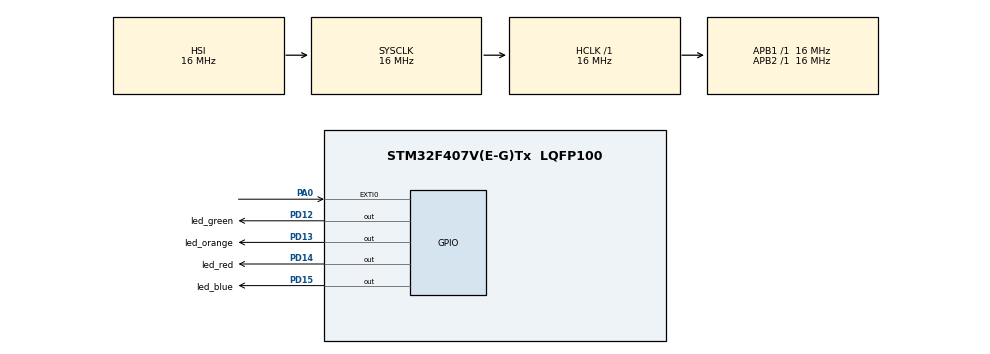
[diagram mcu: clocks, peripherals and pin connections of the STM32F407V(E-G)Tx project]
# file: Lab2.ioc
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Mcu.Family=STM32F4
Mcu.Name=STM32F407V(E-G)Tx
Mcu.Package=LQFP100
NVIC.EXTI0_IRQn=true\:0\:0\:false\:false\:true\:true\:true\:true
NVIC.PriorityGroup=NVIC_PRIORITYGROUP_4
PA0-WKUP.Signal=GPXTI0
PD12.GPIO_Label=led_green
PD12.Signal=GPIO_Output
PD13.GPIO_Label=led_orange
PD13.Signal=GPIO_Output
PD14.GPIO_Label=led_red
PD14.Signal=GPIO_Output
PD15.GPIO_Label=led_blue
PD15.Signal=GPIO_Output
ProjectManager.HeapSize=0x200
ProjectManager.StackSize=0x400
ProjectManager.TargetToolchain=STM32CubeIDE
RCC.AHBFreq_Value=16000000
RCC.APB1Freq_Value=16000000
RCC.APB2Freq_Value=16000000
RCC.CortexFreq_Value=16000000
RCC.HSE_VALUE=25000000
RCC.HSI_VALUE=16000000
RCC.LSE_VALUE=32768
RCC.SYSCLKFreq_VALUE=16000000
RCC.VCOOutputFreq_Value=192000000
board=custom

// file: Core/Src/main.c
/* USER CODE BEGIN Header */
/**
  ******************************************************************************
  * @file           : main.c
  * @brief          : Main program body
  ******************************************************************************
  * @attention
  *
  * Copyright (c) 2024 STMicroelectronics.
  * All rights reserved.
  *
  * This software is licensed under terms that can be found in the LICENSE file
  * in the root directory of this software component.
  * If no LICENSE file comes with this software, it is provided AS-IS.
  *
  ******************************************************************************
  */
/* USER CODE END Header */
#include "main.h"

/* USER CODE BEGIN PD */

#define LED_SWITCH_DELAY    (1000)

/* USER CODE END PD */

/* USER CODE BEGIN PV */

unsigned int ledMode =0;
unsigned long lastModeSwitchTime = 0;
#define MODE_SWITCH_INTERVAL 10000
/* USER CODE END PV */

void SystemClock_Config(void);
static void MX_GPIO_Init(void);

int main(void)
{

  /* MCU Configuration--------------------------------------------------------*/

  /* Reset of all peripherals, Initializes the Flash interface and the Systick. */
  HAL_Init();

  /* Configure the system clock */
  SystemClock_Config();

  /* Initialize all configured peripherals */
  MX_GPIO_Init();

  /* Infinite loop */
  /* USER CODE BEGIN WHILE */
  while (1)
     {
         if (HAL_GetTick() - lastModeSwitchTime >= MODE_SWITCH_INTERVAL) {
             ledMode++;
             if (ledMode > 3) {
                 ledMode = 0;
             }
             lastModeSwitchTime = HAL_GetTick();
         }

         // Выполнение текущего режима
         if (ledMode == 0) {
             HAL_GPIO_WritePin(GPIOD, led_blue_Pin, GPIO_PIN_SET);
             HAL_Delay(150);
             HAL_GPIO_WritePin(GPIOD, led_blue_Pin, GPIO_PIN_RESET);
             HAL_Delay(150);

             HAL_GPIO_WritePin(GPIOD, led_orange_Pin, GPIO_PIN_SET);
             HAL_Delay(150);
             HAL_GPIO_WritePin(GPIOD, led_orange_Pin, GPIO_PIN_RESET);
             HAL_Delay(150);

             HAL_GPIO_WritePin(GPIOD, led_green_Pin, GPIO_PIN_SET);
             HAL_Delay(150);
             HAL_GPIO_WritePin(GPIOD, led_green_Pin, GPIO_PIN_RESET);
             HAL_Delay(150);

             HAL_GPIO_WritePin(GPIOD, led_red_Pin, GPIO_PIN_SET);
             HAL_Delay(150);
             HAL_GPIO_WritePin(GPIOD, led_red_Pin, GPIO_PIN_RESET);
             HAL_Delay(150);
         }

         if (ledMode == 1) {
             HAL_GPIO_WritePin(GPIOD, led_red_Pin, GPIO_PIN_SET);
             HAL_Delay(300);
             HAL_GPIO_WritePin(GPIOD, led_red_Pin, GPIO_PIN_RESET);
             HAL_Delay(300);

             HAL_GPIO_WritePin(GPIOD, led_blue_Pin, GPIO_PIN_SET);
             HAL_Delay(200);
             HAL_GPIO_WritePin(GPIOD, led_blue_Pin, GPIO_PIN_RESET);
             HAL_Delay(200);

             HAL_GPIO_WritePin(GPIOD, led_orange_Pin, GPIO_PIN_SET);
             HAL_Delay(100);
             HAL_GPIO_WritePin(GPIOD, led_orange_Pin, GPIO_PIN_RESET);
             HAL_Delay(100);

             HAL_GPIO_WritePin(GPIOD, led_green_Pin, GPIO_PIN_SET);
             HAL_Delay(400);
             HAL_GPIO_WritePin(GPIOD, led_green_Pin, GPIO_PIN_RESET);
             HAL_Delay(400);
         }

         if (ledMode == 2) {
             HAL_GPIO_WritePin(GPIOD, led_red_Pin, GPIO_PIN_SET);
             HAL_GPIO_WritePin(GPIOD, led_orange_Pin, GPIO_PIN_SET);
             HAL_Delay(250);

             HAL_GPIO_WritePin(GPIOD, led_red_Pin, GPIO_PIN_RESET);
             HAL_GPIO_WritePin(GPIOD, led_orange_Pin, GPIO_PIN_RESET);
             HAL_Delay(250);

             HAL_GPIO_WritePin(GPIOD, led_green_Pin, GPIO_PIN_SET);
             HAL_GPIO_WritePin(GPIOD, led_blue_Pin, GPIO_PIN_SET);
             HAL_Delay(250);

             HAL_GPIO_WritePin(GPIOD, led_green_Pin, GPIO_PIN_RESET);
             HAL_GPIO_WritePin(GPIOD, led_blue_Pin, GPIO_PIN_RESET);
             HAL_Delay(250);
         }

         if (ledMode == 3) {
             HAL_GPIO_WritePin(GPIOD, led_green_Pin, GPIO_PIN_SET);
             HAL_Delay(100);

             HAL_GPIO_WritePin(GPIOD, led_orange_Pin, GPIO_PIN_SET);
             HAL_Delay(100);

             HAL_GPIO_WritePin(GPIOD, led_red_Pin, GPIO_PIN_SET);
             HAL_Delay(100);

             HAL_GPIO_WritePin(GPIOD, led_red_Pin, GPIO_PIN_SET);
             HAL_Delay(100);

             HAL_GPIO_WritePin(GPIOD, led_green_Pin | led_orange_Pin | led_red_Pin | led_blue_Pin, GPIO_PIN_RESET);
             HAL_Delay(500);
         }
    /* USER CODE END WHILE */

  }
}

void SystemClock_Config(void)
{
  RCC_OscInitTypeDef RCC_OscInitStruct = {0};
  RCC_ClkInitTypeDef RCC_ClkInitStruct = {0};

  /** Configure the main internal regulator output voltage
  */
  __HAL_RCC_PWR_CLK_ENABLE();
  __HAL_PWR_VOLTAGESCALING_CONFIG(PWR_REGULATOR_VOLTAGE_SCALE1);

  /** Initializes the RCC Oscillators according to the specified parameters
  * in the RCC_OscInitTypeDef structure.
  */
  RCC_OscInitStruct.OscillatorType = RCC_OSCILLATORTYPE_HSI;
  RCC_OscInitStruct.HSIState = RCC_HSI_ON;
  RCC_OscInitStruct.HSICalibrationValue = RCC_HSICALIBRATION_DEFAULT;
  RCC_OscInitStruct.PLL.PLLState = RCC_PLL_NONE;
  if (HAL_RCC_OscConfig(&RCC_OscInitStruct) != HAL_OK)
  {
    Error_Handler();
  }

  /** Initializes the CPU, AHB and APB buses clocks
  */
  RCC_ClkInitStruct.ClockType = RCC_CLOCKTYPE_HCLK|RCC_CLOCKTYPE_SYSCLK
                              |RCC_CLOCKTYPE_PCLK1|RCC_CLOCKTYPE_PCLK2;
  RCC_ClkInitStruct.SYSCLKSource = RCC_SYSCLKSOURCE_HSI;
  RCC_ClkInitStruct.AHBCLKDivider = RCC_SYSCLK_DIV1;
  RCC_ClkInitStruct.APB1CLKDivider = RCC_HCLK_DIV1;
  RCC_ClkInitStruct.APB2CLKDivider = RCC_HCLK_DIV1;

  if (HAL_RCC_ClockConfig(&RCC_ClkInitStruct, FLASH_LATENCY_0) != HAL_OK)
  {
    Error_Handler();
  }
}

static void MX_GPIO_Init(void)
{
  GPIO_InitTypeDef GPIO_InitStruct = {0};

  /* GPIO Ports Clock Enable */
  __HAL_RCC_GPIOA_CLK_ENABLE();
  __HAL_RCC_GPIOD_CLK_ENABLE();

  /*Configure GPIO pin Output Level */
  HAL_GPIO_WritePin(GPIOD, led_green_Pin|led_orange_Pin|led_red_Pin|led_blue_Pin, GPIO_PIN_RESET);

  /*Configure GPIO pin : PA0 */
  GPIO_InitStruct.Pin = GPIO_PIN_0;
  GPIO_InitStruct.Mode = GPIO_MODE_IT_RISING;
  GPIO_InitStruct.Pull = GPIO_NOPULL;
  HAL_GPIO_Init(GPIOA, &GPIO_InitStruct);

  /*Configure GPIO pins : led_green_Pin led_orange_Pin led_red_Pin led_blue_Pin */
  GPIO_InitStruct.Pin = led_green_Pin|led_orange_Pin|led_red_Pin|led_blue_Pin;
  GPIO_InitStruct.Mode = GPIO_MODE_OUTPUT_PP;
  GPIO_InitStruct.Pull = GPIO_NOPULL;
  GPIO_InitStruct.Speed = GPIO_SPEED_FREQ_LOW;
  HAL_GPIO_Init(GPIOD, &GPIO_InitStruct);

  /* EXTI interrupt init*/
  HAL_NVIC_SetPriority(EXTI0_IRQn, 0, 0);
  HAL_NVIC_EnableIRQ(EXTI0_IRQn);

}

void Error_Handler(void)
{
  __disable_irq();
  while (1)
  {
  }
}
